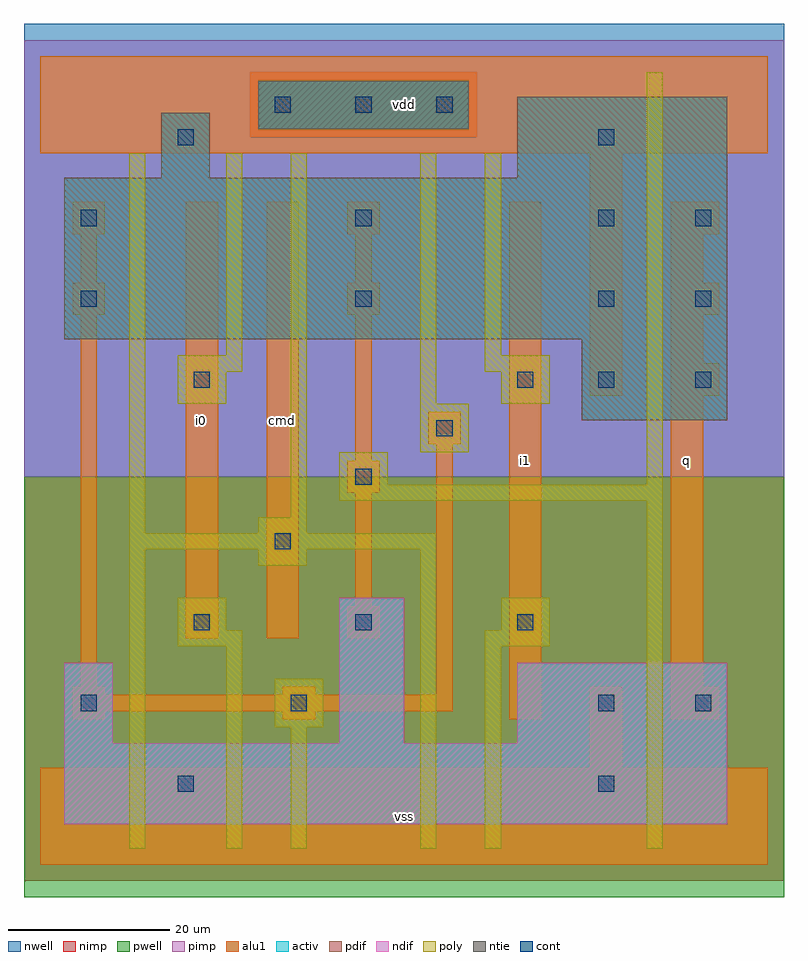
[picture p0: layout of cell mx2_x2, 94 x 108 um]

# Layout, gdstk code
import gdstk
lib = gdstk.Library(unit=1e-6, precision=1e-09)
def R(c, l, rs):  # rectangles x0, y0, x1, y1
    for r in rs: c.add(gdstk.rectangle(r[:2], r[2:], *l))
def A(c, l, x, y, w, h, nx, ny, dx, dy):  # array of equal rectangles
    R(c, l, [(x+i*dx, y+j*dy, x+i*dx+w, y+j*dy+h) for i in range(nx) for j in range(ny)])
ndif = (3, 0)
pdif = (4, 0)
ntie = (5, 0)
cont = (25, 0)
pwell = (41, 0)
nwell = (42, 0)
activ = (43, 0)
pimp = (44, 0)
nimp = (45, 0)
poly = (46, 0)
alu1 = (49, 0)

mx2_x2 = lib.new_cell('mx2_x2')
R(mx2_x2, ndif, [(3,5,85,15), (3,15,9,25), (37,15,45,33), (59,15,85,25)])
R(mx2_x2, pdif, [(67,55,85,65), (3,65,85,85), (15,85,21,93), (59,85,85,95)])
R(mx2_x2, ntie, [(27,91,53,97)])
A(mx2_x2, cont, 19, 29, 2, 2, 3, 1, 20, 0)
A(mx2_x2, cont, 69, 59, 2, 2, 1, 4, 0, 10)
A(mx2_x2, cont, 81, 59, 2, 2, 1, 3, 0, 10)
A(mx2_x2, cont, 29, 93, 2, 2, 3, 1, 10, 0)
R(mx2_x2, cont, [(17,9,19,11), (69,9,71,11), (5,19,7,21), (31,19,33,21), (69,19,71,21), (81,19,83,21), (29,39,31,41), (39,47,41,49), (49,53,51,55), (19,59,21,61), (59,59,61,61), (5,69,7,71), (39,69,41,71), (5,79,7,81), (39,79,41,81), (17,89,19,91)])
R(mx2_x2, pwell, [(-2,-4,92,48)])
R(mx2_x2, nwell, [(-2,48,92,104)])
R(mx2_x2, activ, [(3,5,85,15), (3,15,9,25), (37,15,45,33), (59,15,85,25), (67,55,85,65), (3,65,85,85), (15,85,21,93), (59,85,85,95), (27,91,53,97)])
R(mx2_x2, pimp, [(-2,48,92,90), (-2,90,26,98), (54,90,92,98), (-2,98,92,102)])
R(mx2_x2, nimp, [(-2,-2,92,48), (26,90,54,98)])
R(mx2_x2, poly, [(11,2,13,39), (23,2,25,27), (31,2,33,17), (47,2,49,39), (55,2,57,27), (75,2,77,45), (29,17,35,23), (17,27,25,29), (55,27,63,29), (17,29,23,33), (57,29,63,33), (27,37,33,39), (11,39,49,41), (11,41,13,88), (27,41,33,43), (31,43,33,88), (37,45,77,47), (37,47,43,51), (75,47,77,98), (47,51,53,57), (17,57,23,61), (47,57,49,88), (57,57,63,61), (17,61,25,63), (55,61,63,63), (23,63,25,88), (55,63,57,88)])
A(mx2_x2, alu1, 78, 58, 6, 4, 1, 3, 0, 10)
R(mx2_x2, alu1, [(0,0,90,12), (68,12,72,22), (4,18,8,19), (30,18,34,19), (58,18,62,82), (78,18,84,22), (4,19,51,21), (4,21,8,22), (30,21,34,22), (49,21,51,52), (5,22,7,68), (78,22,82,58), (18,28,22,82), (28,28,32,82), (38,28,42,32), (39,32,41,46), (38,46,42,50), (39,50,41,68), (48,52,52,56), (68,58,72,88), (78,62,82,68), (4,68,8,72), (38,68,42,72), (5,72,7,78), (39,72,41,78), (78,72,82,78), (4,78,8,82), (38,78,42,82), (0,88,90,100)])
mx2_x2.add(gdstk.Label('cmd', (30,55), layer=49, texttype=0))
mx2_x2.add(gdstk.Label('i0', (20,55), layer=49, texttype=0))
mx2_x2.add(gdstk.Label('vss', (45,6), layer=49, texttype=0))
mx2_x2.add(gdstk.Label('i1', (60,50), layer=49, texttype=0))
mx2_x2.add(gdstk.Label('vdd', (45,94), layer=49, texttype=0))
mx2_x2.add(gdstk.Label('q', (80,50), layer=49, texttype=0))

lib.write_gds('mx2_x2.gds')
